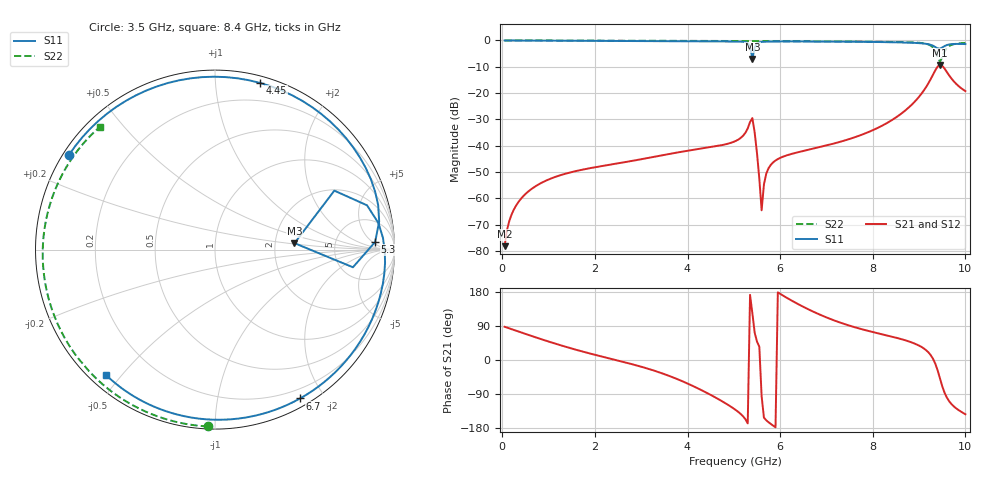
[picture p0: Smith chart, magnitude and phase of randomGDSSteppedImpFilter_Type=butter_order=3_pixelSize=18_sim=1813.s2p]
! freq	dB(S11)	phase(S11)	dB(S12)	phase(S12)
!  dB(S21)	phase(S21)	dB(S22)	phase(S22)
!S-par simulation data
#  GHz  S  DB  R 50
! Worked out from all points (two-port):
!   200 points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, 50 MHz to 10 GHz, reference 50 ohm
!   highest |S21| = -9.27 dB at 9.45 GHz (marker M1); lowest = -78.2 dB at 50 MHz (marker M2)
!   |S21| within 3 dB of the highest: 9.323 GHz to 9.61 GHz (287.2 MHz wide, 3.03 % of centre)
!   lowest |S11| = -7.0 dB at 5.4 GHz (marker M3), VSWR 2.60, Z = 129 + j11.5 ohm
!   |S11| at or under -10 dB: nowhere
!   |S22| runs from -8.1 to 0.0 dB; largest |S21 - S12| = 0
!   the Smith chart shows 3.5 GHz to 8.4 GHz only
!   S11 on the Smith chart (normalised r, x): 3.5 GHz: 0.02, +0.30; 4.45 GHz: 0.05, +1.30; 5.3 GHz: 15, +6; 6.7 GHz: 0.09, -1.72; 8.4 GHz: 0.05, -0.45
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0.05  -0.01 -2.9  -78.16 87.6  -78.16 87.6  -0.00 -1.4
0.2  -0.02 -11.5  -66.15 81.4  -66.15 81.4  -0.01 -5.5
0.5  -0.03 -28.7  -58.34 68.8  -58.34 68.8  -0.02 -13.8
1.75  -0.13 -100.4  -49.02 21.7  -49.02 21.7  -0.06 -47.5
2.7  -0.20 -158.3  -46.08 -7.8  -46.08 -7.8  -0.09 -72.2
3.4  -0.26 154.1  -43.80 -33.0  -43.80 -33.0  -0.12 -89.8
3.5  -0.27 146.9  -43.47 -37.3  -43.47 -37.3  -0.12 -92.3
4.45  -0.34 74.9  -40.67 -88.9  -40.67 -88.9  -0.17 -115.7
5.05  -0.40 28.4  -38.10 -132.7  -38.10 -132.7  -0.20 -130.4
5.3  -0.98 2.7  -33.42 -167.4  -33.42 -167.4  -0.22 -136.7
5.4  -7.05 4.6  -29.50 123.7  -29.50 123.7  -0.24 -139.1
5.45  -2.60 26.3  -35.01 71.9  -35.01 71.9  -0.23 -140.3
5.6  -0.55 3.9  -64.52 -95.8  -64.52 -95.8  -0.24 -144.1
5.65  -0.48 -0.5  -54.69 -152.2  -54.69 -152.2  -0.24 -145.4
5.8  -0.40 -11.5  -47.22 -169.0  -47.22 -169.0  -0.25 -149.2
6.7  -0.40 -60.2  -41.17 128.4  -41.17 128.4  -0.33 -172.9
8.35  -0.66 -129.1  -30.93 63.5  -30.93 63.5  -0.55 135.2
8.4  -0.67 -131.2  -30.40 62.0  -30.40 62.0  -0.56 133.3
9.15  -1.29 -167.1  -17.75 26.1  -17.75 26.1  -1.26 96.4
9.45  -3.14 -175.0  -9.27 -48.2  -9.27 -48.2  -8.11 98.0
9.6  -1.74 -178.7  -12.01 -99.3  -12.01 -99.3  -2.84 113.9
10  -1.38 148.0  -19.24 -143.2  -19.24 -143.2  -0.95 83.9
